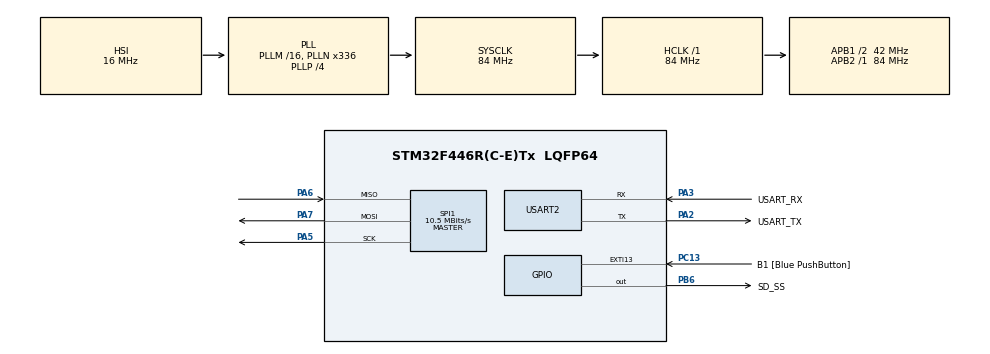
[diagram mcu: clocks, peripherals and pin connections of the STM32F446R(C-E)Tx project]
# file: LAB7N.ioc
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FATFS._MAX_SS=4096
FATFS._USE_LFN=1
Mcu.Family=STM32F4
Mcu.Name=STM32F446R(C-E)Tx
Mcu.Package=LQFP64
NVIC.PriorityGroup=NVIC_PRIORITYGROUP_0
PA13.GPIO_Label=TMS
PA13.Mode=Serial_Wire
PA13.Signal=SYS_JTMS-SWDIO
PA14.GPIO_Label=TCK
PA14.Mode=Serial_Wire
PA14.Signal=SYS_JTCK-SWCLK
PA2.GPIO_Label=USART_TX
PA2.Mode=Asynchronous
PA2.Signal=USART2_TX
PA3.GPIO_Label=USART_RX
PA3.Mode=Asynchronous
PA3.Signal=USART2_RX
PA5.Mode=Full_Duplex_Master
PA5.Signal=SPI1_SCK
PA6.Mode=Full_Duplex_Master
PA6.Signal=SPI1_MISO
PA7.Mode=Full_Duplex_Master
PA7.Signal=SPI1_MOSI
PB3.GPIO_Label=SWO
PB3.Signal=SYS_JTDO-SWO
PB6.GPIO_Label=SD_SS
PB6.GPIO_Speed=GPIO_SPEED_FREQ_MEDIUM
PB6.PinState=GPIO_PIN_SET
PB6.Signal=GPIO_Output
PC13.GPIO_Label=B1 [Blue PushButton]
PC13.GPIO_ModeDefaultEXTI=GPIO_MODE_IT_FALLING
PC13.Signal=GPXTI13
PC14-OSC32_IN.Mode=LSE-External-Oscillator
PC14-OSC32_IN.Signal=RCC_OSC32_IN
PC15-OSC32_OUT.Mode=LSE-External-Oscillator
PC15-OSC32_OUT.Signal=RCC_OSC32_OUT
PH0-OSC_IN.Mode=HSE-External-Oscillator
PH0-OSC_IN.Signal=RCC_OSC_IN
PH1-OSC_OUT.Mode=HSE-External-Oscillator
PH1-OSC_OUT.Signal=RCC_OSC_OUT
ProjectManager.HeapSize=0x200
ProjectManager.StackSize=0x400
ProjectManager.TargetToolchain=STM32CubeIDE
RCC.48MHZClocksFreq_Value=84000000
RCC.AHBFreq_Value=84000000
RCC.APB1CLKDivider=RCC_HCLK_DIV2
RCC.APB1Freq_Value=42000000
RCC.APB1TimFreq_Value=84000000
RCC.APB2Freq_Value=84000000
RCC.APB2TimFreq_Value=84000000
RCC.CortexFreq_Value=84000000
RCC.FLatency-AdvancedSettings=FLASH_LATENCY_2
RCC.HCLKFreq_Value=84000000
RCC.HSE_VALUE=8000000
RCC.HSI_VALUE=16000000
RCC.PLLN=336
RCC.PLLP=RCC_PLLP_DIV4
RCC.SYSCLKFreq_VALUE=84000000
RCC.SYSCLKSource=RCC_SYSCLKSOURCE_PLLCLK
RCC.USBFreq_Value=168000000
RCC.VCOOutputFreq_Value=336000000
SPI1.BaudRatePrescaler=SPI_BAUDRATEPRESCALER_8
SPI1.CalculateBaudRate=10.5 MBits/s
SPI1.Direction=SPI_DIRECTION_2LINES
SPI1.Mode=SPI_MODE_MASTER
SPI1.VirtualType=VM_MASTER
USART2.VirtualMode=VM_ASYNC
VP_FATFS_VS_Generic.Mode=User_defined
board=NUCLEO-F446RE

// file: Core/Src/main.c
/* USER CODE BEGIN Header */
/**
  ******************************************************************************
  * @file           : main.c
  * @brief          : Main program body
  ******************************************************************************
  * @attention
  *
  * Copyright (c) 2025 STMicroelectronics.
  * All rights reserved.
  *
  * This software is licensed under terms that can be found in the LICENSE file
  * in the root directory of this software component.
  * If no LICENSE file comes with this software, it is provided AS-IS.
  *
  ******************************************************************************
  */
/* USER CODE END Header */
#include "main.h"
#include "fatfs.h"

/* USER CODE BEGIN Includes */
#include "fatfs_sd.h"
#include "string.h"
#include "stdio.h"
/* USER CODE END Includes */

/* USER CODE BEGIN PD */
#define MAX_FILES 10
/* USER CODE END PD */

SPI_HandleTypeDef hspi1;
UART_HandleTypeDef huart2;

/* USER CODE BEGIN PV */
FATFS fs;
FIL fil;
FRESULT fres;
DIR dir;
FILINFO fno;
char buffer[512];
char fileList[MAX_FILES][13]; // 8.3 filename format
uint8_t fileCount = 0;
/* USER CODE END PV */

void SystemClock_Config(void);
static void MX_GPIO_Init(void);
static void MX_USART2_UART_Init(void);
static void MX_SPI1_Init(void);
/* USER CODE BEGIN PFP */
void transmit_uart(char *string);
uint8_t receive_uart_char(void);
void list_files_on_sd(void);
void display_menu(void);
void display_ascii_art(uint8_t fileIndex);
/* USER CODE END PFP */

/* USER CODE BEGIN 0 */

// Función para transmitir strings por UART
void transmit_uart(char *string)
{
    HAL_UART_Transmit(&huart2, (uint8_t *)string, strlen(string), HAL_MAX_DELAY);
}

// Función para recibir un carácter por UART (bloqueante)
uint8_t receive_uart_char(void)
{
    uint8_t receivedChar;
    HAL_UART_Receive(&huart2, &receivedChar, 1, HAL_MAX_DELAY);
    return receivedChar;
}

// Función para listar archivos .txt en la SD
void list_files_on_sd(void)
{
    fileCount = 0;
    fres = f_opendir(&dir, "/");

    if (fres == FR_OK) {
        while (1) {
            fres = f_readdir(&dir, &fno);
            if (fres != FR_OK || fno.fname[0] == 0) break; // Error o fin de directorio

            // Filtrar solo archivos .txt (no directorios)
            if (!(fno.fattrib & AM_DIR)) {
                // Verificar si termina en .txt o .TXT
                char *ext = strrchr(fno.fname, '.');
                if (ext != NULL && (strcmp(ext, ".txt") == 0 || strcmp(ext, ".TXT") == 0)) {
                    if (fileCount < MAX_FILES) {
                        strcpy(fileList[fileCount], fno.fname);
                        fileCount++;
                    }
                }
            }
        }
        f_closedir(&dir);
    } else {
        transmit_uart("Error al abrir directorio de la SD.\r\n");
    }
}

// Función para mostrar el menú en consola
void display_menu(void)
{
    transmit_uart("\r\n========================================\r\n");
    transmit_uart("   GRAFICADOR DE ARTE ASCII - Lab 7\r\n");
    transmit_uart("========================================\r\n");

    if (fileCount == 0) {
        transmit_uart("No se encontraron archivos .txt en la SD.\r\n");
        return;
    }

    transmit_uart("Archivos encontrados:\r\n\r\n");

    for (uint8_t i = 0; i < fileCount; i++) {
        char line[50];
        sprintf(line, "  %d) %s\r\n", i + 1, fileList[i]);
        transmit_uart(line);
    }

    transmit_uart("\r\nSeleccione el archivo a mostrar (1-");
    char maxNum[3];
    sprintf(maxNum, "%d", fileCount);
    transmit_uart(maxNum);
    transmit_uart("): ");
}

// Función para leer y mostrar el contenido del archivo ASCII seleccionado
void display_ascii_art(uint8_t fileIndex)
{
    if (fileIndex >= fileCount) {
        transmit_uart("\r\nSeleccion invalida.\r\n");
        return;
    }

    fres = f_open(&fil, fileList[fileIndex], FA_READ);

    if (fres == FR_OK) {
        transmit_uart("\r\n\r\n--- Mostrando: ");
        transmit_uart(fileList[fileIndex]);
        transmit_uart(" ---\r\n\r\n");

        // Leer y mostrar línea por línea
        while (f_gets(buffer, sizeof(buffer), &fil)) {
            transmit_uart(buffer);
        }

        f_close(&fil);
        transmit_uart("\r\n\r\n--- Fin del archivo ---\r\n");
    } else {
        transmit_uart("\r\nError al abrir el archivo.\r\n");
    }
}

/* USER CODE END 0 */

int main(void)
{

  /* MCU Configuration--------------------------------------------------------*/

  /* Reset of all peripherals, Initializes the Flash interface and the Systick. */
  HAL_Init();

  /* Configure the system clock */
  SystemClock_Config();

  /* Initialize all configured peripherals */
  MX_GPIO_Init();
  MX_USART2_UART_Init();
  MX_SPI1_Init();
  MX_FATFS_Init();
  /* USER CODE BEGIN 2 */

  // Mensaje de bienvenida
  transmit_uart("\r\n\r\n*** Iniciando sistema... ***\r\n");

  // --- MONTAJE DE LA SD ---
  fres = f_mount(&fs, "", 1);
  if (fres == FR_OK) {
      transmit_uart("Micro SD montada exitosamente!\r\n");
  } else {
      transmit_uart("ERROR: No se pudo montar la SD.\r\n");
      transmit_uart("Verifique la conexion y reinicie.\r\n");
      while(1); // Detener ejecución
  }

  // Listar archivos .txt en la SD
  list_files_on_sd();

  /* USER CODE END 2 */

  /* Infinite loop */
  while (1)
  {

    /* USER CODE BEGIN 3 */

    // Mostrar menú
    display_menu();

    // Esperar selección del usuario
    uint8_t selection = receive_uart_char();

    // Echo del carácter recibido
    HAL_UART_Transmit(&huart2, &selection, 1, HAL_MAX_DELAY);

    // Convertir de ASCII a número
    if (selection >= '1' && selection <= '9') {
        uint8_t fileIndex = selection - '1';
        display_ascii_art(fileIndex);
    } else {
        transmit_uart("\r\nOpcion invalida. Intente de nuevo.\r\n");
    }

    // Pequeña pausa antes de volver a mostrar el menú
    HAL_Delay(1000);
  }
  /* USER CODE END 3 */
}

void SystemClock_Config(void)
{
  RCC_OscInitTypeDef RCC_OscInitStruct = {0};
  RCC_ClkInitTypeDef RCC_ClkInitStruct = {0};

  /** Configure the main internal regulator output voltage
  */
  __HAL_RCC_PWR_CLK_ENABLE();
  __HAL_PWR_VOLTAGESCALING_CONFIG(PWR_REGULATOR_VOLTAGE_SCALE3);

  /** Initializes the RCC Oscillators according to the specified parameters
  * in the RCC_OscInitTypeDef structure.
  */
  RCC_OscInitStruct.OscillatorType = RCC_OSCILLATORTYPE_HSI;
  RCC_OscInitStruct.HSIState = RCC_HSI_ON;
  RCC_OscInitStruct.HSICalibrationValue = RCC_HSICALIBRATION_DEFAULT;
  RCC_OscInitStruct.PLL.PLLState = RCC_PLL_ON;
  RCC_OscInitStruct.PLL.PLLSource = RCC_PLLSOURCE_HSI;
  RCC_OscInitStruct.PLL.PLLM = 16;
  RCC_OscInitStruct.PLL.PLLN = 336;
  RCC_OscInitStruct.PLL.PLLP = RCC_PLLP_DIV4;
  RCC_OscInitStruct.PLL.PLLQ = 2;
  RCC_OscInitStruct.PLL.PLLR = 2;
  if (HAL_RCC_OscConfig(&RCC_OscInitStruct) != HAL_OK)
  {
    Error_Handler();
  }

  /** Initializes the CPU, AHB and APB buses clocks
  */
  RCC_ClkInitStruct.ClockType = RCC_CLOCKTYPE_HCLK|RCC_CLOCKTYPE_SYSCLK
                              |RCC_CLOCKTYPE_PCLK1|RCC_CLOCKTYPE_PCLK2;
  RCC_ClkInitStruct.SYSCLKSource = RCC_SYSCLKSOURCE_PLLCLK;
  RCC_ClkInitStruct.AHBCLKDivider = RCC_SYSCLK_DIV1;
  RCC_ClkInitStruct.APB1CLKDivider = RCC_HCLK_DIV2;
  RCC_ClkInitStruct.APB2CLKDivider = RCC_HCLK_DIV1;

  if (HAL_RCC_ClockConfig(&RCC_ClkInitStruct, FLASH_LATENCY_2) != HAL_OK)
  {
    Error_Handler();
  }
}

static void MX_SPI1_Init(void)
{

  /* SPI1 parameter configuration*/
  hspi1.Instance = SPI1;
  hspi1.Init.Mode = SPI_MODE_MASTER;
  hspi1.Init.Direction = SPI_DIRECTION_2LINES;
  hspi1.Init.DataSize = SPI_DATASIZE_8BIT;
  hspi1.Init.CLKPolarity = SPI_POLARITY_LOW;
  hspi1.Init.CLKPhase = SPI_PHASE_1EDGE;
  hspi1.Init.NSS = SPI_NSS_SOFT;
  hspi1.Init.BaudRatePrescaler = SPI_BAUDRATEPRESCALER_8;
  hspi1.Init.FirstBit = SPI_FIRSTBIT_MSB;
  hspi1.Init.TIMode = SPI_TIMODE_DISABLE;
  hspi1.Init.CRCCalculation = SPI_CRCCALCULATION_DISABLE;
  hspi1.Init.CRCPolynomial = 10;
  if (HAL_SPI_Init(&hspi1) != HAL_OK)
  {
    Error_Handler();
  }

}

static void MX_USART2_UART_Init(void)
{

  huart2.Instance = USART2;
  huart2.Init.BaudRate = 115200;
  huart2.Init.WordLength = UART_WORDLENGTH_8B;
  huart2.Init.StopBits = UART_STOPBITS_1;
  huart2.Init.Parity = UART_PARITY_NONE;
  huart2.Init.Mode = UART_MODE_TX_RX;
  huart2.Init.HwFlowCtl = UART_HWCONTROL_NONE;
  huart2.Init.OverSampling = UART_OVERSAMPLING_16;
  if (HAL_UART_Init(&huart2) != HAL_OK)
  {
    Error_Handler();
  }

}

static void MX_GPIO_Init(void)
{
  GPIO_InitTypeDef GPIO_InitStruct = {0};

  /* GPIO Ports Clock Enable */
  __HAL_RCC_GPIOC_CLK_ENABLE();
  __HAL_RCC_GPIOH_CLK_ENABLE();
  __HAL_RCC_GPIOA_CLK_ENABLE();
  __HAL_RCC_GPIOB_CLK_ENABLE();

  /*Configure GPIO pin Output Level */
  HAL_GPIO_WritePin(SD_SS_GPIO_Port, SD_SS_Pin, GPIO_PIN_SET);

  /*Configure GPIO pin : B1_Pin */
  GPIO_InitStruct.Pin = B1_Pin;
  GPIO_InitStruct.Mode = GPIO_MODE_IT_FALLING;
  GPIO_InitStruct.Pull = GPIO_NOPULL;
  HAL_GPIO_Init(B1_GPIO_Port, &GPIO_InitStruct);

  /*Configure GPIO pin : SD_SS_Pin */
  GPIO_InitStruct.Pin = SD_SS_Pin;
  GPIO_InitStruct.Mode = GPIO_MODE_OUTPUT_PP;
  GPIO_InitStruct.Pull = GPIO_NOPULL;
  GPIO_InitStruct.Speed = GPIO_SPEED_FREQ_MEDIUM;
  HAL_GPIO_Init(SD_SS_GPIO_Port, &GPIO_InitStruct);

}

void Error_Handler(void)
{
  __disable_irq();
  while (1)
  {
  }
}
